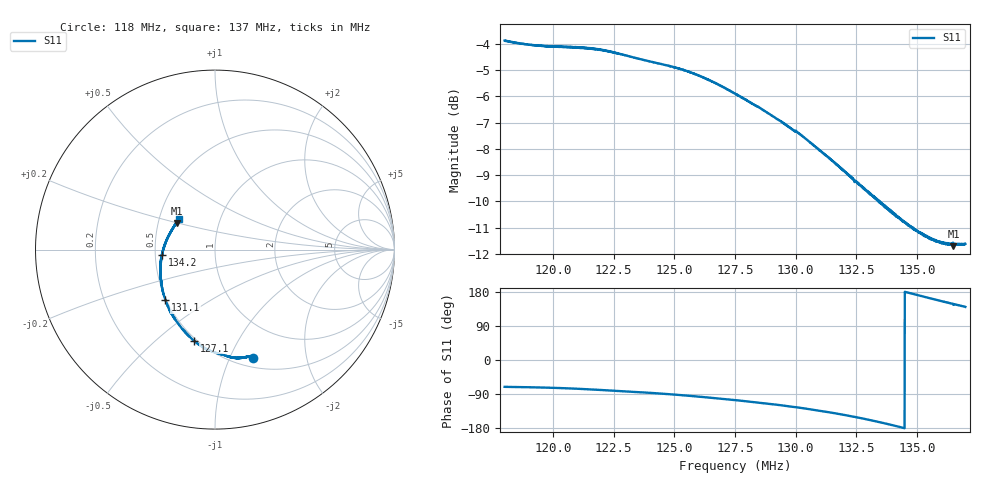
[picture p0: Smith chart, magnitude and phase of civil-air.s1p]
! Calibrated averaged scanner-service zoom
# Hz S RI R 50
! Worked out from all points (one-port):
!   2001 points, 118 MHz to 137 MHz, reference 50 ohm
!   lowest |S11| = -11.7 dB at 136.5 MHz (marker M1), VSWR 1.70, Z = 31.2 + j9.82 ohm
!   |S11| at or under -10 dB: 133.4322 MHz to 133.4508 MHz (18.59 kHz wide, 0.0139 % of centre); 133.5 MHz to end of sweep
!   S11 on the Smith chart (normalised r, x): 118 MHz: 0.60, -1.22; 127.1 MHz: 0.48, -0.67; 131.1 MHz: 0.50, -0.33; 134.2 MHz: 0.54, -0.03; 137 MHz: 0.63, +0.23
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1.18e8  0.2104 -0.6047
1.19197e8  0.1922 -0.5969
1.20375e8  0.1697 -0.6004
1.21344e8  0.1401 -0.6045
1.22047e8  0.1124 -0.6035
1.2275e8  0.0837 -0.5974
1.242225e8  0.0244 -0.5803
1.25125e8  -0.0186 -0.5671
1.25543e8  -0.0399 -0.5579
1.260845e8  -0.0682 -0.5431
1.270535e8  -0.1178 -0.5073
1.275e8  -0.1389 -0.4882
1.285545e8  -0.1858 -0.4377
1.293335e8  -0.2184 -0.3949
1.29875e8  -0.2394 -0.3616
1.30293e8  -0.255 -0.3343
1.31053e8  -0.2761 -0.2802
1.31623e8  -0.289 -0.2367
1.3225e8  -0.299 -0.1866
1.32763e8  -0.3039 -0.1456
1.33295e8  -0.3048 -0.1012
1.341595e8  -0.2958 -0.0277
1.34625e8  -0.286 0.0106
1.35195e8  -0.269 0.0542
1.356795e8  -0.2525 0.0894
1.360975e8  -0.2365 0.115
1.36506e8  -0.2143 0.1469
1.37e8  -0.2013 0.1684
